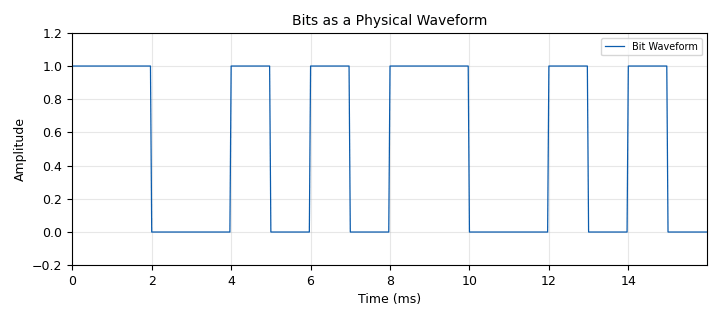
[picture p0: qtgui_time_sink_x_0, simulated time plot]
options:
  parameters:
    author: Dhrubjun
    generate_options: qt_gui
    id: exp1
    output_language: python
    title: A Digital Data Stream
  states: {}

blocks:
- name: bit_rate
  id: variable
  parameters:
    value: '1000'
  states: {}
- name: samp_rate
  id: variable
  parameters:
    value: '32000'
  states: {}
- name: samples_per_bit
  id: variable
  parameters:
    value: int(samp_rate / bit_rate)
  states: {}
- name: blocks_repeat_0
  id: blocks_repeat
  parameters:
    interp: samples_per_bit
    type: float
  states: {}
- name: blocks_throttle2_0
  id: blocks_throttle2
  parameters:
    samples_per_second: samp_rate
    type: float
  states: {}
- name: blocks_uchar_to_float_0
  id: blocks_uchar_to_float
  parameters: {}
  states: {}
- name: blocks_vector_source_x_0
  id: blocks_vector_source_x
  parameters:
    repeat: 'True'
    type: byte
    vector: (1, 0, 1, 1, 0, 0, 1, 0)
  states: {}
- name: qtgui_time_sink_x_0
  id: qtgui_time_sink_x
  parameters:
    grid: 'True'
    label1: Bit Waveform
    name: Bits as a Physical Waveform
    size: '512'
    srate: samp_rate
    type: float
    ymax: '1.2'
    ymin: '-0.2'
  states: {}

connections:
- [blocks_repeat_0, '0', blocks_throttle2_0, '0']
- [blocks_throttle2_0, '0', qtgui_time_sink_x_0, '0']
- [blocks_uchar_to_float_0, '0', blocks_repeat_0, '0']
- [blocks_vector_source_x_0, '0', blocks_uchar_to_float_0, '0']

metadata:
  file_format: 1
  grc_version: 3.10.12.0
